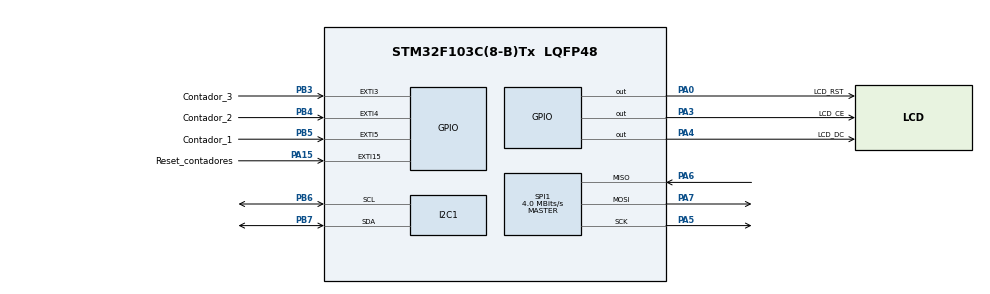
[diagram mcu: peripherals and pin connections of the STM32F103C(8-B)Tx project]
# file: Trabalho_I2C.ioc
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Mcu.Family=STM32F1
Mcu.Name=STM32F103C(8-B)Tx
Mcu.Package=LQFP48
NVIC.EXTI15_10_IRQn=true\:0\:0\:false\:false\:true\:true\:true\:true
NVIC.EXTI3_IRQn=true\:0\:0\:false\:false\:true\:true\:true\:true
NVIC.EXTI4_IRQn=true\:0\:0\:false\:false\:true\:true\:true\:true
NVIC.EXTI9_5_IRQn=true\:0\:0\:false\:false\:true\:true\:true\:true
NVIC.PriorityGroup=NVIC_PRIORITYGROUP_4
PA0-WKUP.GPIO_Label=LCD_RST
PA0-WKUP.Signal=GPIO_Output
PA13.Mode=Serial_Wire
PA13.Signal=SYS_JTMS-SWDIO
PA14.Mode=Serial_Wire
PA14.Signal=SYS_JTCK-SWCLK
PA15.GPIO_Label=Reset_contadores
PA15.GPIO_PuPd=GPIO_PULLUP
PA15.Signal=GPXTI15
PA3.GPIO_Label=LCD_CE
PA3.Signal=GPIO_Output
PA4.GPIO_Label=LCD_DC
PA4.Signal=GPIO_Output
PA5.Mode=Full_Duplex_Master
PA5.Signal=SPI1_SCK
PA6.Mode=Full_Duplex_Master
PA6.Signal=SPI1_MISO
PA7.Mode=Full_Duplex_Master
PA7.Signal=SPI1_MOSI
PB3.GPIO_Label=Contador_3
PB3.GPIO_PuPd=GPIO_PULLUP
PB3.Signal=GPXTI3
PB4.GPIO_Label=Contador_2
PB4.GPIO_PuPd=GPIO_PULLUP
PB4.Signal=GPXTI4
PB5.GPIO_Label=Contador_1
PB5.GPIO_PuPd=GPIO_PULLUP
PB5.Signal=GPXTI5
PB6.Mode=I2C
PB6.Signal=I2C1_SCL
PB7.Mode=I2C
PB7.Signal=I2C1_SDA
ProjectManager.HeapSize=0x200
ProjectManager.StackSize=0x400
ProjectManager.TargetToolchain=STM32CubeIDE
RCC.APB1Freq_Value=8000000
RCC.APB2Freq_Value=8000000
SPI1.CalculateBaudRate=4.0 MBits/s
SPI1.Direction=SPI_DIRECTION_2LINES
SPI1.Mode=SPI_MODE_MASTER
SPI1.VirtualType=VM_MASTER
board=custom

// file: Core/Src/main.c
/* USER CODE BEGIN Header */
/**
  ******************************************************************************
  * @file           : main.c
  * @brief          : Main program body
  ******************************************************************************
  * @attention
  *
  * Copyright (c) 2022 STMicroelectronics.
  * All rights reserved.
  *
  * This software is licensed under terms that can be found in the LICENSE file
  * in the root directory of this software component.
  * If no LICENSE file comes with this software, it is provided AS-IS.
  *
  ******************************************************************************
  */
/* USER CODE END Header */
#include "main.h"

 I2C_HandleTypeDef hi2c1;

SPI_HandleTypeDef hspi1;

void SystemClock_Config(void);
static void MX_GPIO_Init(void);
static void MX_I2C1_Init(void);
static void MX_SPI1_Init(void);

/* USER CODE BEGIN 0 */
int flag_update = 0;
int contador_1_mem 	= 0;
int contador_2_mem 	= 0;
int contador_3_mem 	= 0;
int flag_reset 		= 0;

/* USER CODE END 0 */

int main(void)
{

  /* MCU Configuration--------------------------------------------------------*/

  /* Reset of all peripherals, Initializes the Flash interface and the Systick. */
  HAL_Init();

  /* Configure the system clock */
  SystemClock_Config();

  /* Initialize all configured peripherals */
  MX_GPIO_Init();
  MX_I2C1_Init();
  MX_SPI1_Init();
  /* USER CODE BEGIN 2 */
  LCD_Init();
  ler_memoria();

  /* USER CODE END 2 */

  /* Infinite loop */
  while (1)
  {

    /* USER CODE BEGIN 3 */
	  if(flag_update > 0){
		  atualiza_memoria();
		  atualiza_tela();
		  flag_update = 0;
	  }
	  if(flag_reset > 0){
		  reseta_memoria();
		  informa_reset_na_tela();
	  }
  }
  /* USER CODE END 3 */
}

void SystemClock_Config(void)
{
  RCC_OscInitTypeDef RCC_OscInitStruct = {0};
  RCC_ClkInitTypeDef RCC_ClkInitStruct = {0};

  /** Initializes the RCC Oscillators according to the specified parameters
  * in the RCC_OscInitTypeDef structure.
  */
  RCC_OscInitStruct.OscillatorType = RCC_OSCILLATORTYPE_HSI;
  RCC_OscInitStruct.HSIState = RCC_HSI_ON;
  RCC_OscInitStruct.HSICalibrationValue = RCC_HSICALIBRATION_DEFAULT;
  RCC_OscInitStruct.PLL.PLLState = RCC_PLL_NONE;
  if (HAL_RCC_OscConfig(&RCC_OscInitStruct) != HAL_OK)
  {
    Error_Handler();
  }

  /** Initializes the CPU, AHB and APB buses clocks
  */
  RCC_ClkInitStruct.ClockType = RCC_CLOCKTYPE_HCLK|RCC_CLOCKTYPE_SYSCLK
                              |RCC_CLOCKTYPE_PCLK1|RCC_CLOCKTYPE_PCLK2;
  RCC_ClkInitStruct.SYSCLKSource = RCC_SYSCLKSOURCE_HSI;
  RCC_ClkInitStruct.AHBCLKDivider = RCC_SYSCLK_DIV1;
  RCC_ClkInitStruct.APB1CLKDivider = RCC_HCLK_DIV1;
  RCC_ClkInitStruct.APB2CLKDivider = RCC_HCLK_DIV1;

  if (HAL_RCC_ClockConfig(&RCC_ClkInitStruct, FLASH_LATENCY_0) != HAL_OK)
  {
    Error_Handler();
  }
}

static void MX_I2C1_Init(void)
{

  hi2c1.Instance = I2C1;
  hi2c1.Init.ClockSpeed = 100000;
  hi2c1.Init.DutyCycle = I2C_DUTYCYCLE_2;
  hi2c1.Init.OwnAddress1 = 0;
  hi2c1.Init.AddressingMode = I2C_ADDRESSINGMODE_7BIT;
  hi2c1.Init.DualAddressMode = I2C_DUALADDRESS_DISABLE;
  hi2c1.Init.OwnAddress2 = 0;
  hi2c1.Init.GeneralCallMode = I2C_GENERALCALL_DISABLE;
  hi2c1.Init.NoStretchMode = I2C_NOSTRETCH_DISABLE;
  if (HAL_I2C_Init(&hi2c1) != HAL_OK)
  {
    Error_Handler();
  }

}

static void MX_SPI1_Init(void)
{

  /* SPI1 parameter configuration*/
  hspi1.Instance = SPI1;
  hspi1.Init.Mode = SPI_MODE_MASTER;
  hspi1.Init.Direction = SPI_DIRECTION_2LINES;
  hspi1.Init.DataSize = SPI_DATASIZE_8BIT;
  hspi1.Init.CLKPolarity = SPI_POLARITY_LOW;
  hspi1.Init.CLKPhase = SPI_PHASE_1EDGE;
  hspi1.Init.NSS = SPI_NSS_SOFT;
  hspi1.Init.BaudRatePrescaler = SPI_BAUDRATEPRESCALER_2;
  hspi1.Init.FirstBit = SPI_FIRSTBIT_MSB;
  hspi1.Init.TIMode = SPI_TIMODE_DISABLE;
  hspi1.Init.CRCCalculation = SPI_CRCCALCULATION_DISABLE;
  hspi1.Init.CRCPolynomial = 10;
  if (HAL_SPI_Init(&hspi1) != HAL_OK)
  {
    Error_Handler();
  }

}

static void MX_GPIO_Init(void)
{
  GPIO_InitTypeDef GPIO_InitStruct = {0};

  /* GPIO Ports Clock Enable */
  __HAL_RCC_GPIOA_CLK_ENABLE();
  __HAL_RCC_GPIOB_CLK_ENABLE();

  /*Configure GPIO pin Output Level */
  HAL_GPIO_WritePin(GPIOA, LCD_RST_Pin|LCD_CE_Pin|LCD_DC_Pin, GPIO_PIN_RESET);

  /*Configure GPIO pins : LCD_RST_Pin LCD_CE_Pin LCD_DC_Pin */
  GPIO_InitStruct.Pin = LCD_RST_Pin|LCD_CE_Pin|LCD_DC_Pin;
  GPIO_InitStruct.Mode = GPIO_MODE_OUTPUT_PP;
  GPIO_InitStruct.Pull = GPIO_NOPULL;
  GPIO_InitStruct.Speed = GPIO_SPEED_FREQ_LOW;
  HAL_GPIO_Init(GPIOA, &GPIO_InitStruct);

  /*Configure GPIO pin : Reset_contadores_Pin */
  GPIO_InitStruct.Pin = Reset_contadores_Pin;
  GPIO_InitStruct.Mode = GPIO_MODE_IT_RISING;
  GPIO_InitStruct.Pull = GPIO_PULLUP;
  HAL_GPIO_Init(Reset_contadores_GPIO_Port, &GPIO_InitStruct);

  /*Configure GPIO pins : Contador_3_Pin Contador_2_Pin Contador_1_Pin */
  GPIO_InitStruct.Pin = Contador_3_Pin|Contador_2_Pin|Contador_1_Pin;
  GPIO_InitStruct.Mode = GPIO_MODE_IT_RISING;
  GPIO_InitStruct.Pull = GPIO_PULLUP;
  HAL_GPIO_Init(GPIOB, &GPIO_InitStruct);

  /* EXTI interrupt init*/
  HAL_NVIC_SetPriority(EXTI3_IRQn, 0, 0);
  HAL_NVIC_EnableIRQ(EXTI3_IRQn);

  HAL_NVIC_SetPriority(EXTI4_IRQn, 0, 0);
  HAL_NVIC_EnableIRQ(EXTI4_IRQn);

  HAL_NVIC_SetPriority(EXTI9_5_IRQn, 0, 0);
  HAL_NVIC_EnableIRQ(EXTI9_5_IRQn);

  HAL_NVIC_SetPriority(EXTI15_10_IRQn, 0, 0);
  HAL_NVIC_EnableIRQ(EXTI15_10_IRQn);

}

/* USER CODE BEGIN 4 */
HAL_GPIO_EXTI_Callback(GPIO_Pin){
	if(GPIO_Pin == Contador_1_Pin)
	{
		flag_update++;
		contador_1_mem++;
	}
	if(GPIO_Pin == Contador_2_Pin)
	{
		flag_update++;
		contador_2_mem++;
	}
	if(GPIO_Pin == Contador_3_Pin)
	{
		flag_update++;
		contador_3_mem++;
	}
	if(GPIO_Pin == Reset_contadores_Pin)
	{
		flag_reset++;
		contador_1_mem = 0;
		contador_2_mem = 0;
		contador_3_mem = 0;
	}
}
void ler_memoria(){

}
void atualiza_memoria(){

}
void atualiza_tela(){

}
void reseta_memoria(){

}
void informa_reset_na_tela(){

}
/* USER CODE END 4 */

void Error_Handler(void)
{
  __disable_irq();
  while (1)
  {
  }
}
